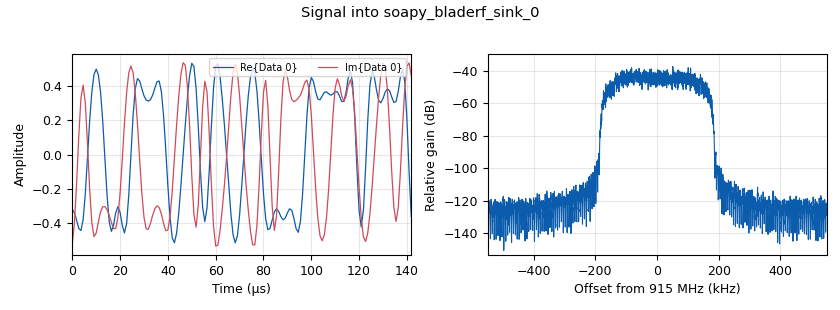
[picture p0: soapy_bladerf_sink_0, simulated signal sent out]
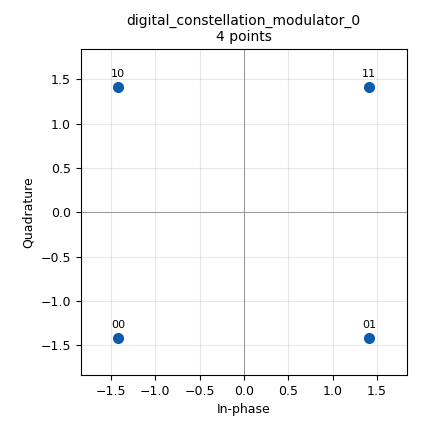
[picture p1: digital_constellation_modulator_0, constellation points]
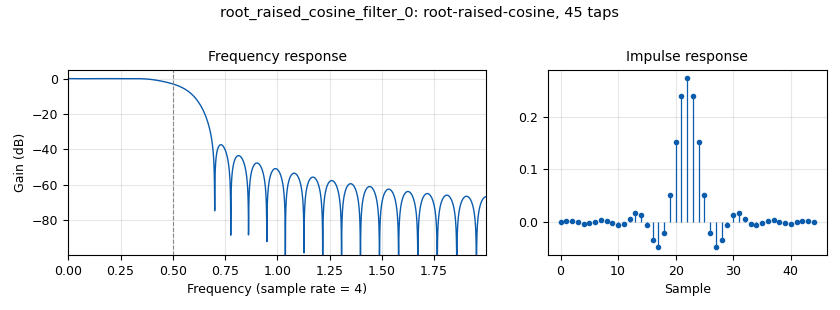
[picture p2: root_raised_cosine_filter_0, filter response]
options:
  parameters:
    generate_options: qt_gui
    id: q
    output_language: python
    title: workshop 3.4
  states: {}

blocks:
- name: constel_obj
  id: variable_constellation
  parameters:
    precision: '8'
    type: qpsk
  states: {}
- name: excess_bw
  id: variable
  parameters:
    value: '0.35'
  states: {}
- name: freq
  id: variable
  parameters:
    value: '915000000'
  states: {}
- name: loop_bw
  id: variable_qtgui_range
  parameters:
    start: '0'
    step: '0.001'
    stop: '0.35'
    value: '0.035'
  states: {}
- name: samp_rate
  id: variable
  parameters:
    value: '1100000'
  states: {}
- name: sps
  id: variable
  parameters:
    value: '4'
  states: {}
- name: symb_rate
  id: variable
  parameters:
    value: '275000'
  states: {}
- name: tx_gain
  id: variable
  parameters:
    value: '40'
  states: {}
- name: analog_feedforward_agc_cc_0
  id: analog_feedforward_agc_cc
  parameters:
    num_samples: '64'
    reference: '1.8'
  states: {}
- name: analog_random_source_x_0
  id: analog_random_source_x
  parameters:
    max: '256'
    min: '0'
    num_samps: '1000'
    repeat: 'True'
    type: byte
  states: {}
- name: blocks_multiply_const_vxx_0
  id: blocks_multiply_const_vxx
  parameters:
    const: '0.25'
    type: complex
  states: {}
- name: blocks_multiply_const_vxx_0_0
  id: blocks_multiply_const_vxx
  parameters:
    const: '2'
    type: complex
  states: {}
- name: digital_constellation_modulator_0
  id: digital_constellation_modulator
  parameters:
    constellation: constel_obj
    differential: 'False'
    excess_bw: excess_bw
    samples_per_symbol: sps
  states: {}
- name: digital_costas_loop_cc_0
  id: digital_costas_loop_cc
  parameters:
    order: '4'
    w: loop_bw
  states: {}
- name: digital_meas_evm_cc_1
  id: digital_meas_evm_cc
  parameters:
    cons: constel_obj
    meas_type: digital.evm_measurement_t.EVM_PERCENT
  states: {}
- name: digital_symbol_sync_xx_0
  id: digital_symbol_sync_xx
  parameters:
    damping: '1.0'
    loop_bw: '0.045'
    max_dev: '1.5'
    osps: '1'
    resamp_type: digital.IR_MMSE_8TAP
    sps: sps
    ted_gain: '1.0'
    ted_type: digital.TED_EARLY_LATE
    type: cc
  states: {}
- name: import_0
  id: import
  parameters:
    imports: import numpy as np
  states: {}
- name: qtgui_const_sink_x_0
  id: qtgui_const_sink_x
  parameters:
    nconnections: '2'
    size: '1024'
    type: complex
  states: {}
- name: qtgui_number_sink_0
  id: qtgui_number_sink
  parameters:
    graph_type: qtgui.NUM_GRAPH_HORIZ
    type: float
  states: {}
- name: root_raised_cosine_filter_0
  id: root_raised_cosine_filter
  parameters:
    alpha: '0.35'
    decim: '1'
    gain: '1'
    ntaps: 11*sps
    samp_rate: sps
    sym_rate: '1.0'
    type: fir_filter_ccf
  states: {}
- name: soapy_bladerf_sink_0
  id: soapy_bladerf_sink
  parameters:
    center_freq: freq
    dev_args: serial = 38306da1e3964066ad646c0a2b56e27a
    samp_rate: samp_rate
    type: fc32
  states: {}
- name: soapy_bladerf_source_0
  id: soapy_bladerf_source
  parameters:
    center_freq: freq
    dev_args: serial = 38306da1e3964066ad646c0a2b56e27a
    samp_rate: samp_rate
    type: fc32
  states: {}

connections:
- [analog_feedforward_agc_cc_0, '0', root_raised_cosine_filter_0, '0']
- [analog_random_source_x_0, '0', digital_constellation_modulator_0, '0']
- [blocks_multiply_const_vxx_0, '0', soapy_bladerf_sink_0, '0']
- [blocks_multiply_const_vxx_0_0, '0', digital_meas_evm_cc_1, '0']
- [digital_constellation_modulator_0, '0', blocks_multiply_const_vxx_0, '0']
- [digital_costas_loop_cc_0, '0', blocks_multiply_const_vxx_0_0, '0']
- [digital_costas_loop_cc_0, '0', qtgui_const_sink_x_0, '1']
- [digital_meas_evm_cc_1, '0', qtgui_number_sink_0, '0']
- [digital_symbol_sync_xx_0, '0', digital_costas_loop_cc_0, '0']
- [digital_symbol_sync_xx_0, '0', qtgui_const_sink_x_0, '0']
- [root_raised_cosine_filter_0, '0', digital_symbol_sync_xx_0, '0']
- [soapy_bladerf_source_0, '0', analog_feedforward_agc_cc_0, '0']

metadata:
  file_format: 1
